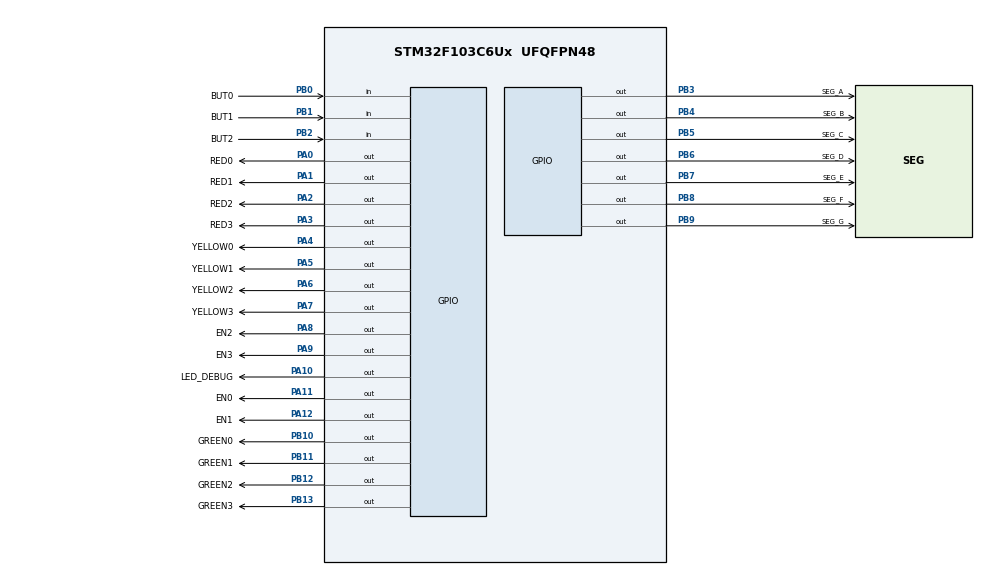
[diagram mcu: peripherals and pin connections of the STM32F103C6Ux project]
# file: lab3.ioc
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Mcu.Family=STM32F1
Mcu.Name=STM32F103C6Ux
Mcu.Package=UFQFPN48
NVIC.PriorityGroup=NVIC_PRIORITYGROUP_4
NVIC.TIM2_IRQn=true\:0\:0\:false\:false\:true\:true\:true
PA0-WKUP.GPIO_Label=RED0
PA0-WKUP.Signal=GPIO_Output
PA1.GPIO_Label=RED1
PA1.Signal=GPIO_Output
PA10.GPIO_Label=LED_DEBUG
PA10.Signal=GPIO_Output
PA11.GPIO_Label=EN0
PA11.PinState=GPIO_PIN_SET
PA11.Signal=GPIO_Output
PA12.GPIO_Label=EN1
PA12.PinState=GPIO_PIN_SET
PA12.Signal=GPIO_Output
PA13.Signal=SYS_JTMS-SWDIO
PA14.Signal=SYS_JTCK-SWCLK
PA2.GPIO_Label=RED2
PA2.Signal=GPIO_Output
PA3.GPIO_Label=RED3
PA3.Signal=GPIO_Output
PA4.GPIO_Label=YELLOW0
PA4.Signal=GPIO_Output
PA5.GPIO_Label=YELLOW1
PA5.Signal=GPIO_Output
PA6.GPIO_Label=YELLOW2
PA6.Signal=GPIO_Output
PA7.GPIO_Label=YELLOW3
PA7.Signal=GPIO_Output
PA8.GPIO_Label=EN2
PA8.PinState=GPIO_PIN_SET
PA8.Signal=GPIO_Output
PA9.GPIO_Label=EN3
PA9.PinState=GPIO_PIN_SET
PA9.Signal=GPIO_Output
PB0.GPIO_Label=BUT0
PB0.GPIO_PuPd=GPIO_PULLUP
PB0.Signal=GPIO_Input
PB1.GPIO_Label=BUT1
PB1.GPIO_PuPd=GPIO_PULLUP
PB1.Signal=GPIO_Input
PB10.GPIO_Label=GREEN0
PB10.Signal=GPIO_Output
PB11.GPIO_Label=GREEN1
PB11.Signal=GPIO_Output
PB12.GPIO_Label=GREEN2
PB12.Signal=GPIO_Output
PB13.GPIO_Label=GREEN3
PB13.Signal=GPIO_Output
PB2.GPIO_Label=BUT2
PB2.GPIO_PuPd=GPIO_PULLUP
PB2.Signal=GPIO_Input
PB3.GPIO_Label=SEG_A
PB3.PinState=GPIO_PIN_RESET
PB3.Signal=GPIO_Output
PB4.GPIO_Label=SEG_B
PB4.PinState=GPIO_PIN_RESET
PB4.Signal=GPIO_Output
PB5.GPIO_Label=SEG_C
PB5.PinState=GPIO_PIN_RESET
PB5.Signal=GPIO_Output
PB6.GPIO_Label=SEG_D
PB6.PinState=GPIO_PIN_RESET
PB6.Signal=GPIO_Output
PB7.GPIO_Label=SEG_E
PB7.PinState=GPIO_PIN_RESET
PB7.Signal=GPIO_Output
PB8.GPIO_Label=SEG_F
PB8.PinState=GPIO_PIN_RESET
PB8.Signal=GPIO_Output
PB9.GPIO_Label=SEG_G
PB9.PinState=GPIO_PIN_RESET
PB9.Signal=GPIO_Output
ProjectManager.HeapSize=0x200
ProjectManager.StackSize=0x400
ProjectManager.TargetToolchain=STM32CubeIDE
RCC.APB1Freq_Value=8000000
RCC.APB2Freq_Value=8000000
TIM2.Period=9
TIM2.Prescaler=7999
VP_SYS_VS_ND.Mode=No_Debug
VP_TIM2_VS_ClockSourceINT.Mode=Internal
board=custom

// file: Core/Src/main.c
/* USER CODE BEGIN Header */
/**
  ******************************************************************************
  * @file           : main.c
  * @brief          : Main program body
  ******************************************************************************
  */
/* USER CODE END Header */
#include "main.h"
#include "timer.h"
#include "input_reading.h"

TIM_HandleTypeDef htim2;

/* USER CODE BEGIN PV */
// Biến cho FSM chính
int mode = 1;
int startup_flag = 1; // Cờ để xử lý khởi động

// Biến cho việc quét LED 7 đoạn
int led_buffer[4] = {0, 0, 0, 0};
int led_index = 0;

// Các biến lưu trữ thời gian cho mỗi màu đèn (đơn vị: giây)
int time_duration_red = 5;
int time_duration_yellow = 2;
int time_duration_green = 3;

// Biến tạm để lưu giá trị khi đang chỉnh sửa ở Mode 2, 3, 4
int temp_value = 0;

// Biến cho FSM đèn giao thông (chỉ hoạt động ở Mode 1)
int traffic_state = 0; // 0: INIT, 1: RED1-GREEN2, 2: RED1-YELLOW2, 3: GREEN1-RED2, 4: YELLOW1-RED2
int timer_road1_counter = 0;
int timer_road2_counter = 0;

// Biến cho FSM xử lý nhấn giữ BUT1
static int button1_fsm_state = 0; // 0: IDLE, 1: PRESSED_WAIT_HOLD, 2: HOLD_AUTO_INCREMENT
/* USER CODE END PV */

void SystemClock_Config(void);
static void MX_GPIO_Init(void);
static void MX_TIM2_Init(void);
/* USER CODE BEGIN PFP */
void setLedsRoad1(int color); // 0: RED, 1: YELLOW, 2: GREEN
void setLedsRoad2(int color);
void fsm_traffic_light_run();
void clearAllLeds();
void handle_button_logic();
/* USER CODE END PFP */

/* USER CODE BEGIN 0 */
// Bảng mã cho LED 7 đoạn ANODE CHUNG
const unsigned char segment_code[10] = {0xC0, 0xF9, 0xA4, 0xB0, 0x99, 0x92, 0x82, 0xF8, 0x80, 0x90};

void display7SEG(int num) {
    if (num < 0 || num > 9) return;
    // Để bật 1 segment của ANODE chung, ta kéo chân đó xuống LOW
    uint16_t all_segments = SEG_A_Pin|SEG_B_Pin|SEG_C_Pin|SEG_D_Pin|SEG_E_Pin|SEG_F_Pin|SEG_G_Pin;
    uint16_t pins_to_turn_on = 0x0000;
    char segment_value = segment_code[num];

    // logic: 0 in segment_code means segment ON (pull LOW)
    if(((segment_value >> 0) & 1) == 0) pins_to_turn_on |= SEG_A_Pin;
    if(((segment_value >> 1) & 1) == 0) pins_to_turn_on |= SEG_B_Pin;
    if(((segment_value >> 2) & 1) == 0) pins_to_turn_on |= SEG_C_Pin;
    if(((segment_value >> 3) & 1) == 0) pins_to_turn_on |= SEG_D_Pin;
    if(((segment_value >> 4) & 1) == 0) pins_to_turn_on |= SEG_E_Pin;
    if(((segment_value >> 5) & 1) == 0) pins_to_turn_on |= SEG_F_Pin;
    if(((segment_value >> 6) & 1) == 0) pins_to_turn_on |= SEG_G_Pin;

    HAL_GPIO_WritePin(GPIOB, all_segments, GPIO_PIN_SET); // Tắt hết
    HAL_GPIO_WritePin(GPIOB, pins_to_turn_on, GPIO_PIN_RESET); // Bật những cái cần
}

void update7SEG(int index) {
	// Tắt hết 4 LED 7 đoạn để chống lem
	HAL_GPIO_WritePin(EN0_GPIO_Port, EN0_Pin, GPIO_PIN_SET);
	HAL_GPIO_WritePin(EN1_GPIO_Port, EN1_Pin, GPIO_PIN_SET);
	HAL_GPIO_WritePin(EN2_GPIO_Port, EN2_Pin, GPIO_PIN_SET);
	HAL_GPIO_WritePin(EN3_GPIO_Port, EN3_Pin, GPIO_PIN_SET);

	switch(index) {
		case 0:
			display7SEG(led_buffer[0]);
			HAL_GPIO_WritePin(EN0_GPIO_Port, EN0_Pin, GPIO_PIN_RESET);
			break;
		case 1:
			display7SEG(led_buffer[1]);
			HAL_GPIO_WritePin(EN1_GPIO_Port, EN1_Pin, GPIO_PIN_RESET);
			break;
		case 2:
			display7SEG(led_buffer[2]);
			HAL_GPIO_WritePin(EN2_GPIO_Port, EN2_Pin, GPIO_PIN_RESET);
			break;
		case 3:
			display7SEG(led_buffer[3]);
			HAL_GPIO_WritePin(EN3_GPIO_Port, EN3_Pin, GPIO_PIN_RESET);
			break;
		default:
			break;
	}
}

void clearAllLeds(){
    // Tắt hết 12 LED đơn bằng cách xuất mức HIGH
    HAL_GPIO_WritePin(GPIOA, RED0_Pin|RED1_Pin|RED2_Pin|RED3_Pin|YELLOW0_Pin|YELLOW1_Pin|YELLOW2_Pin|YELLOW3_Pin, GPIO_PIN_SET);
    HAL_GPIO_WritePin(GPIOB, GREEN0_Pin|GREEN1_Pin|GREEN2_Pin|GREEN3_Pin, GPIO_PIN_SET);
    // Tắt hết 4 LED 7 đoạn
    HAL_GPIO_WritePin(GPIOA, EN0_Pin|EN1_Pin|EN2_Pin|EN3_Pin, GPIO_PIN_SET);
}

// Logic cho Active Low (đường 1 = đèn 0 & 2)
void setLedsRoad1(int color) {
	if(color == 0) { // Bật đèn Đỏ
		HAL_GPIO_WritePin(GPIOA, RED0_Pin|RED2_Pin, GPIO_PIN_RESET);
		HAL_GPIO_WritePin(GPIOA, YELLOW0_Pin|YELLOW2_Pin, GPIO_PIN_SET);
		HAL_GPIO_WritePin(GPIOB, GREEN0_Pin|GREEN2_Pin, GPIO_PIN_SET);
	} else if (color == 1) { // Bật đèn Vàng
		HAL_GPIO_WritePin(GPIOA, RED0_Pin|RED2_Pin, GPIO_PIN_SET);
		HAL_GPIO_WritePin(GPIOA, YELLOW0_Pin|YELLOW2_Pin, GPIO_PIN_RESET);
		HAL_GPIO_WritePin(GPIOB, GREEN0_Pin|GREEN2_Pin, GPIO_PIN_SET);
	} else if (color == 2) { // Bật đèn Xanh
		HAL_GPIO_WritePin(GPIOA, RED0_Pin|RED2_Pin, GPIO_PIN_SET);
		HAL_GPIO_WritePin(GPIOA, YELLOW0_Pin|YELLOW2_Pin, GPIO_PIN_SET);
		HAL_GPIO_WritePin(GPIOB, GREEN0_Pin|GREEN2_Pin, GPIO_PIN_RESET);
	}
}

// Logic cho Active Low (đường 2 = đèn 1 & 3)
void setLedsRoad2(int color) {
	if(color == 0) { // Bật đèn Đỏ
		HAL_GPIO_WritePin(GPIOA, RED1_Pin|RED3_Pin, GPIO_PIN_RESET);
		HAL_GPIO_WritePin(GPIOA, YELLOW1_Pin|YELLOW3_Pin, GPIO_PIN_SET);
		HAL_GPIO_WritePin(GPIOB, GREEN1_Pin|GREEN3_Pin, GPIO_PIN_SET);
	} else if (color == 1) { // Bật đèn Vàng
		HAL_GPIO_WritePin(GPIOA, RED1_Pin|RED3_Pin, GPIO_PIN_SET);
		HAL_GPIO_WritePin(GPIOA, YELLOW1_Pin|YELLOW3_Pin, GPIO_PIN_RESET);
		HAL_GPIO_WritePin(GPIOB, GREEN1_Pin|GREEN3_Pin, GPIO_PIN_SET);
	} else if (color == 2) { // Bật đèn Xanh
		HAL_GPIO_WritePin(GPIOA, RED1_Pin|RED3_Pin, GPIO_PIN_SET);
		HAL_GPIO_WritePin(GPIOA, YELLOW1_Pin|YELLOW3_Pin, GPIO_PIN_SET);
		HAL_GPIO_WritePin(GPIOB, GREEN1_Pin|GREEN3_Pin, GPIO_PIN_RESET);
	}
}
/* USER CODE END 0 */

int main(void)
{

  /* MCU Configuration--------------------------------------------------------*/

  /* Reset of all peripherals, Initializes the Flash interface and the Systick. */
  HAL_Init();

  /* Configure the system clock */
  SystemClock_Config();

  /* Initialize all configured peripherals */
  MX_GPIO_Init();
  MX_TIM2_Init();
  /* USER CODE BEGIN 2 */
  HAL_TIM_Base_Start_IT(&htim2);
  setTimer1(1000);
  setTimer2(250);
  setTimer3(50);
  setTimer4(1000); // Timer for button hold logic
  /* USER CODE END 2 */

  /* Infinite loop */
  while (1)
  {

	if(startup_flag == 1 && timer1_flag == 1) {
		startup_flag = 0;
		setTimer1(1000);
	}

	if(startup_flag == 0) {
		handle_button_logic();
	}

	// === Chạy FSM và các hoạt động theo MODE ===
	if(mode == 1) {
		if(startup_flag == 0) fsm_traffic_light_run();
	}

	// === Xử lý nháy LED (cho mọi mode) ===
	if(timer2_flag == 1) {
		setTimer2(250); // Reset timer for 2Hz blinking
		HAL_GPIO_TogglePin(LED_DEBUG_GPIO_Port, LED_DEBUG_Pin);

		if(mode > 1) {
			switch(mode) {
				case 2: HAL_GPIO_TogglePin(GPIOA, RED0_Pin|RED1_Pin|RED2_Pin|RED3_Pin); break;
				case 3: HAL_GPIO_TogglePin(GPIOA, YELLOW0_Pin|YELLOW1_Pin|YELLOW2_Pin|YELLOW3_Pin); break;
				case 4: HAL_GPIO_TogglePin(GPIOB, GREEN0_Pin|GREEN1_Pin|GREEN2_Pin|GREEN3_Pin); break;
			}
		}
	}

	// === Cập nhật buffer cho LED 7 đoạn theo MODE ===
	if (mode == 1) {
		led_buffer[0] = timer_road1_counter / 10;
		led_buffer[1] = timer_road1_counter % 10;
		led_buffer[2] = timer_road2_counter / 10;
		led_buffer[3] = timer_road2_counter % 10;
	} else {
		led_buffer[0] = 0;
		led_buffer[1] = mode;
		led_buffer[2] = temp_value / 10;
		led_buffer[3] = temp_value % 10;
	}

	// === Quét LED 7 đoạn ===
	if(timer3_flag == 1) {
		setTimer3(50); // Reset timer để quét LED tiếp theo sau 50ms
		update7SEG(led_index++);
		if(led_index > 3) led_index = 0;
	}

  }
}

void handle_button_logic() {
	// Nút MODE (BUT0)
	if(is_button_pressed(0) == 1){
		while(is_button_pressed(0) == 1); // Chờ nhả phím
		mode++;
		if(mode > 4) {
			mode = 1;
			traffic_state = 0; // Reset FSM khi trở về mode 1
		} else {
			// Khi vào mode 2, 3, 4, hiển thị giá trị thời gian hiện tại
			if(mode == 2) temp_value = time_duration_red;
			if(mode == 3) temp_value = time_duration_yellow;
			if(mode == 4) temp_value = time_duration_green;
		}
		button1_fsm_state = 0; // Reset FSM của nút 1 khi chuyển mode
		clearAllLeds();
	}

	// Nút MODIFY (BUT1) - Sử dụng FSM
	if(mode > 1) {
		switch(button1_fsm_state) {
			case 0: // Trạng thái chờ (IDLE)
				if(is_button_pressed(1) == 1) {
					button1_fsm_state = 1; // Chuyển sang trạng thái chờ nhấn giữ
					setTimer4(1000); // Bắt đầu đếm 1 giây
				}
				break;

			case 1: // Trạng thái chờ nhấn giữ (PRESSED_WAIT_HOLD)
				if(is_button_pressed(1) == 0) {
					// Nhả ra trước 1 giây -> là nhấn đơn
					temp_value++;
					if(temp_value > 99) temp_value = 1;
					button1_fsm_state = 0; // Quay về trạng thái chờ
				} else {
					// Vẫn đang nhấn, kiểm tra xem đã đủ 1 giây chưa
					if(timer4_flag == 1) {
						// Đã giữ đủ 1 giây
						temp_value++; // Tăng giá trị lần đầu
						if(temp_value > 99) temp_value = 1;
						button1_fsm_state = 2; // Chuyển sang trạng thái tự động tăng
						setTimer4(1000); // Đặt lại timer cho chu kỳ 1 giây tiếp theo
					}
				}
				break;

			case 2: // Trạng thái tự động tăng (HOLD_AUTO_INCREMENT)
				if(is_button_pressed(1) == 0) {
					// Đã nhả nút, dừng tự động tăng
					button1_fsm_state = 0;
				} else {
					// Vẫn đang giữ, kiểm tra timer để tăng giá trị mỗi giây
					if(timer4_flag == 1) {
						temp_value++;
						if(temp_value > 99) temp_value = 1;
						setTimer4(1000); // Đặt lại timer cho chu kỳ 1 giây tiếp theo
					}
				}
				break;
		}
	}

	// Nút SET (BUT2)
	if(is_button_pressed(2) == 1 && mode > 1){
		while(is_button_pressed(2) == 1); // Chờ nhả phím
		if(mode == 2) time_duration_red = temp_value;
		if(mode == 3) time_duration_yellow = temp_value;
		if(mode == 4) time_duration_green = temp_value;
	}
}

// FSM đèn giao thông
void fsm_traffic_light_run() {
	switch(traffic_state) {
		case 0: // INIT State
			setLedsRoad1(0); // RED1
			setLedsRoad2(2); // GREEN2
			timer_road1_counter = time_duration_red;
			timer_road2_counter = time_duration_green;
			setTimer1(1000);
			traffic_state = 1;
			break;

		case 1: // RED1 - GREEN2
			if(timer1_flag == 1) {
				setTimer1(1000);
				timer_road1_counter--;
				timer_road2_counter--;
				if(timer_road2_counter <= 0) {
					traffic_state = 2;
					timer_road2_counter = time_duration_yellow;
					setLedsRoad2(1); // Switch to YELLOW2
				}
			}
			break;

		case 2: // RED1 - YELLOW2
			if(timer1_flag == 1) {
				setTimer1(1000);
				timer_road1_counter--;
				timer_road2_counter--;
				if(timer_road2_counter <= 0) {
					traffic_state = 3;
					timer_road1_counter = time_duration_green;
					timer_road2_counter = time_duration_red;
					setLedsRoad1(2); // Switch to GREEN1
					setLedsRoad2(0); // Switch to RED2
				}
			}
			break;

		case 3: // GREEN1 - RED2
			if(timer1_flag == 1) {
				setTimer1(1000);
				timer_road1_counter--;
				timer_road2_counter--;
				if(timer_road1_counter <= 0) {
					traffic_state = 4;
					timer_road1_counter = time_duration_yellow;
					setLedsRoad1(1); // Switch to YELLOW1
				}
			}
			break;

		case 4: // YELLOW1 - RED2
			if(timer1_flag == 1) {
				setTimer1(1000);
				timer_road1_counter--;
				timer_road2_counter--;
				if(timer_road1_counter <= 0) {
					traffic_state = 1;
					timer_road1_counter = time_duration_red;
					timer_road2_counter = time_duration_green;
					setLedsRoad1(0); // Switch to RED1
					setLedsRoad2(2); // Switch to GREEN2
				}
			}
			break;

		default:
			traffic_state = 0;
			break;
	}
}

void SystemClock_Config(void)
{
  RCC_OscInitTypeDef RCC_OscInitStruct = {0};
  RCC_ClkInitTypeDef RCC_ClkInitStruct = {0};

  /** Initializes the RCC Oscillators according to the specified parameters
  * in the RCC_OscInitTypeDef structure.
  */
  RCC_OscInitStruct.OscillatorType = RCC_OSCILLATORTYPE_HSI;
  RCC_OscInitStruct.HSIState = RCC_HSI_ON;
  RCC_OscInitStruct.HSICalibrationValue = RCC_HSICALIBRATION_DEFAULT;
  RCC_OscInitStruct.PLL.PLLState = RCC_PLL_NONE;
  if (HAL_RCC_OscConfig(&RCC_OscInitStruct) != HAL_OK)
  {
    Error_Handler();
  }
  /** Initializes the CPU, AHB and APB buses clocks
  */
  RCC_ClkInitStruct.ClockType = RCC_CLOCKTYPE_HCLK|RCC_CLOCKTYPE_SYSCLK
                              |RCC_CLOCKTYPE_PCLK1|RCC_CLOCKTYPE_PCLK2;
  RCC_ClkInitStruct.SYSCLKSource = RCC_SYSCLKSOURCE_HSI;
  RCC_ClkInitStruct.AHBCLKDivider = RCC_SYSCLK_DIV1;
  RCC_ClkInitStruct.APB1CLKDivider = RCC_HCLK_DIV1;
  RCC_ClkInitStruct.APB2CLKDivider = RCC_HCLK_DIV1;

  if (HAL_RCC_ClockConfig(&RCC_ClkInitStruct, FLASH_LATENCY_0) != HAL_OK)
  {
    Error_Handler();
  }
}

static void MX_TIM2_Init(void)
{

  TIM_ClockConfigTypeDef sClockSourceConfig = {0};
  TIM_MasterConfigTypeDef sMasterConfig = {0};

  htim2.Instance = TIM2;
  // THAY ĐỔI PRESCALER VÀ PERIOD ĐỂ TẠO RA NGẮT 50MS
  // Giả sử System Clock là 8MHz.
  // Clock timer = 8,000,000 / (7999 + 1) = 1,000Hz
  // Chu kỳ ngắt = (Period + 1) / Clock timer = (49 + 1) / 1,000 = 50ms
  htim2.Init.Prescaler = 7999;
  htim2.Init.CounterMode = TIM_COUNTERMODE_UP;
  htim2.Init.Period = 49;
  htim2.Init.ClockDivision = TIM_CLOCKDIVISION_DIV1;
  htim2.Init.AutoReloadPreload = TIM_AUTORELOAD_PRELOAD_DISABLE;
  if (HAL_TIM_Base_Init(&htim2) != HAL_OK)
  {
    Error_Handler();
  }
  sClockSourceConfig.ClockSource = TIM_CLOCKSOURCE_INTERNAL;
  if (HAL_TIM_ConfigClockSource(&htim2, &sClockSourceConfig) != HAL_OK)
  {
    Error_Handler();
  }
  sMasterConfig.MasterOutputTrigger = TIM_TRGO_RESET;
  sMasterConfig.MasterSlaveMode = TIM_MASTERSLAVEMODE_DISABLE;
  if (HAL_TIMEx_MasterConfigSynchronization(&htim2, &sMasterConfig) != HAL_OK)
  {
    Error_Handler();
  }
  /* USER CODE BEGIN TIM2_Init 2 */

  /* USER CODE END 2 */

}

static void MX_GPIO_Init(void)
{
  GPIO_InitTypeDef GPIO_InitStruct = {0};

  /* GPIO Ports Clock Enable */
  __HAL_RCC_GPIOA_CLK_ENABLE();
  __HAL_RCC_GPIOB_CLK_ENABLE();

  /*Configure GPIO pin Output Level */
  HAL_GPIO_WritePin(GPIOA, RED0_Pin|RED1_Pin|RED2_Pin|RED3_Pin
                          |YELLOW0_Pin|YELLOW1_Pin|YELLOW2_Pin|YELLOW3_Pin
                          |LED_DEBUG_Pin|EN0_Pin|EN1_Pin|EN2_Pin
                          |EN3_Pin, GPIO_PIN_SET);

  /*Configure GPIO pin Output Level */
  HAL_GPIO_WritePin(GPIOB, GREEN0_Pin|GREEN1_Pin|GREEN2_Pin|GREEN3_Pin
                          |SEG_A_Pin|SEG_B_Pin|SEG_C_Pin|SEG_D_Pin
                          |SEG_E_Pin|SEG_F_Pin|SEG_G_Pin, GPIO_PIN_SET);

  /*Configure GPIO pins : PA0 PA1 PA2 PA3 PA4 PA5 PA6 PA7 PA8 PA9 PA10 PA11 PA12 */
  GPIO_InitStruct.Pin = RED0_Pin|RED1_Pin|RED2_Pin|RED3_Pin
                          |YELLOW0_Pin|YELLOW1_Pin|YELLOW2_Pin|YELLOW3_Pin
                          |EN2_Pin|EN3_Pin|LED_DEBUG_Pin|EN0_Pin
                          |EN1_Pin;
  GPIO_InitStruct.Mode = GPIO_MODE_OUTPUT_PP;
  GPIO_InitStruct.Pull = GPIO_NOPULL;
  GPIO_InitStruct.Speed = GPIO_SPEED_FREQ_LOW;
  HAL_GPIO_Init(GPIOA, &GPIO_InitStruct);

  /*Configure GPIO pins : PB10 PB11 PB12 PB13 PB3 PB4 PB5 PB6 PB7 PB8 PB9 */
  GPIO_InitStruct.Pin = GREEN0_Pin|GREEN1_Pin|GREEN2_Pin|GREEN3_Pin
                          |SEG_A_Pin|SEG_B_Pin|SEG_C_Pin|SEG_D_Pin
                          |SEG_E_Pin|SEG_F_Pin|SEG_G_Pin;
  GPIO_InitStruct.Mode = GPIO_MODE_OUTPUT_PP;
  GPIO_InitStruct.Pull = GPIO_NOPULL;
  GPIO_InitStruct.Speed = GPIO_SPEED_FREQ_LOW;
  HAL_GPIO_Init(GPIOB, &GPIO_InitStruct);

  /*Configure GPIO pins : PB0 PB1 PB2 */
  GPIO_InitStruct.Pin = BUT0_Pin|BUT1_Pin|BUT2_Pin;
  GPIO_InitStruct.Mode = GPIO_MODE_INPUT;
  GPIO_InitStruct.Pull = GPIO_PULLUP;
  HAL_GPIO_Init(GPIOB, &GPIO_InitStruct);

}

void Error_Handler(void)
{
  __disable_irq();
  while (1)
  {
  }
}

/************************ (C) COPYRIGHT STMicroelectronics *****END OF FILE****/
